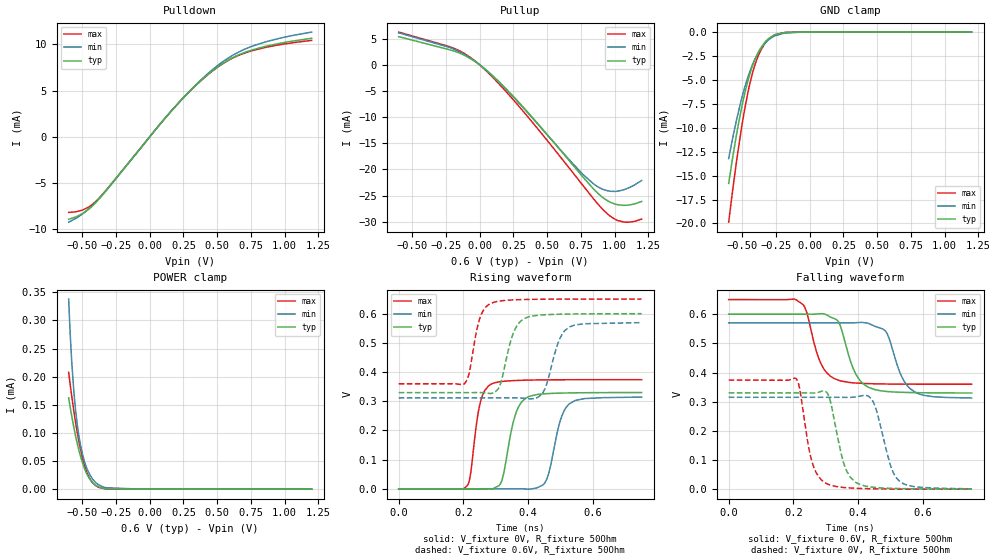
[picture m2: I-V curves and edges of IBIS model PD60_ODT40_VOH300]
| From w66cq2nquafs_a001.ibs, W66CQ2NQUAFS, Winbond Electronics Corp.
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[Model]   PD60_ODT40_VOH300
Model_type   I/O
Polarity   Non-Inverting
Enable   Active-Low
Vinl = 0.08
Vinh = 0.22
Vmeas = 0.15
Vref = 0
Cref = 0pF
Rref = 40
|   typ   min   max
C_comp   0.85pF   0.80pF   0.90pF
[Voltage Range]   0.6   0.57   0.65
[Temperature Range]   25   125   -40
[Pullup Reference]   0.6   0.57   0.65
[Pulldown Reference]   0   0   0
[Power Clamp Reference]   0.6   0.57   0.65
[GND Clamp Reference]   0   0   0
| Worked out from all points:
|   slope of the pulldown table from 0 to 0.09 V, typ, clamps not added: 56.1 ohm
|   slope of the pullup table from 0 to 0.09 V, typ, clamps not added: 46.5 ohm
|   GND clamp passes 1 mA (typ) near -0.33 V on its own axis
|   falling waveform, V_fixture 0.6V, R_fixture 50Ohm: 20-80 % time 49.4ps typ, 51ps min, 46.6ps max; typ from 0.6 V to 0.33 V
|   rising waveform, V_fixture 0V, R_fixture 50Ohm: 20-80 % time 37.1ps typ, 38.9ps min, 28.2ps max; typ from 0 V to 0.33 V
|   rising waveform, V_fixture 0.6V, R_fixture 50Ohm: 20-80 % time 38.5ps typ, 40.9ps min, 31.6ps max; typ from 0.33 V to 0.6 V
|   falling waveform, V_fixture 0V, R_fixture 50Ohm: 20-80 % time 41.6ps typ, 44.8ps min, 37.4ps max; typ from 0.33 V to 0 V
[Pulldown]
|   Voltage   I(typ)   I(min)   I(max)
-600mV    -8.908mA   -9.223mA   -8.165mA
-492.8mV  -8.247mA   -8.283mA   -7.889mA
-451.1mV  -7.81mA    -7.783mA   -7.58mA
-403.7mV  -7.167mA   -7.112mA   -7.039mA
-306.2mV  -5.538mA   -5.499mA   -5.482mA
161.8mV   2.825mA    2.818mA    2.818mA
347.9mV   5.661mA    5.706mA    5.64mA
506.3mV   7.588mA    7.739mA    7.557mA
619.4mV   8.588mA    8.852mA    8.547mA
776.5mV   9.468mA    9.887mA    9.385mA
966.4mV   10.11mA    10.67mA    9.964mA
1.2V      10.65mA    11.32mA    10.43mA
[GND Clamp]
|   Voltage   I(typ)   I(min)   I(max)
-600mV    -15.82mA   -13.22mA   -19.87mA
-537.9mV  -10.39mA   -8.934mA   -13.12mA
-492.8mV  -7.148mA   -6.363mA   -8.956mA
-451.8mV  -4.806mA   -4.467mA   -5.924mA
-427.3mV  -3.693mA   -3.533mA   -4.479mA
-382.2mV  -2.16mA    -2.199mA   -2.517mA
-336.1mV  -1.144mA   -1.236mA   -1.267mA
-303mV    -671.4uA   -777uA     -721.1uA
-255.7mV  -268.9uA   -376.3uA   -271.4uA
-186.7mV  -55.31uA   -102uA     -44.87uA
-59.4mV   -1.414uA   -6.579uA   -414.8nA
1.2V      0A         0A         0A
[Pullup]
|   Voltage   I(typ)   I(min)   I(max)
-600mV    5.379mA    6.114mA    6.249mA
-180.6mV  2.55mA     2.879mA    3.055mA
-112.2mV  1.811mA    1.979mA    2.144mA
-4.6mV    85.11uA    90.34uA    103.4uA
124.8mV   -2.773mA   -2.858mA   -3.137mA
272.7mV   -6.676mA   -6.792mA   -7.376mA
760mV     -21.28mA   -20.81mA   -22.88mA
871.6mV   -24.44mA   -23.24mA   -26.46mA
953.3mV   -26.06mA   -24.1mA    -28.63mA
1.027V    -26.75mA   -24.12mA   -29.78mA
1.095V    -26.82mA   -23.62mA   -30.07mA
1.2V      -26.11mA   -22.11mA   -29.49mA
[POWER Clamp]
|   Voltage   I(typ)   I(min)   I(max)
-600mV    162.4uA    337.9uA    207.7uA
-588mV    144.9uA    273.1uA    184.9uA
-577.9mV  130.9uA    228.9uA    166.4uA
-562.4mV  110.8uA    175.7uA    140uA
-549.3mV  95.23uA    141.4uA    119.4uA
-525.3mV  70.42uA    96.1uA     86.26uA
-494.4mV  44.55uA    59.14uA    52.1uA
-464.9mV  26.96uA    36.57uA    29.73uA
-396.5mV  6.412uA    10.86uA    5.787uA
-324mV    871.3nA    2.542uA    577.4nA
-59.4mV   0A         11.64nA    0A
1.2V      0A         0A         0A
[Ramp]
R_load = 50
|   typ   min   max
dV/dt_r 1.9798E-01/3.6909E-11   1.8852E-01/3.8834E-11   2.2434E-01/2.8200E-11
dV/dt_f 1.6214E-01/4.9384E-11   1.5446E-01/5.0431E-11   1.7410E-01/4.6618E-11
[Falling Waveform]
V_fixture = 0.6V
V_fixture_min = 0.57V
V_fixture_max = 0.65V
R_fixture = 50Ohm
C_fixture = 0F
|   Time   V(typ)   V(min)   V(max)
0s        600mV      570mV      650mV
229ps     600mV      570mV      633.3mV
285ps     601.8mV    570mV      430.2mV
331ps     582.6mV    570mV      377mV
392ps     395.5mV    570.8mV    364mV
431ps     349.6mV    568.7mV    362mV
488ps     335mV      536.1mV    360.6mV
533ps     332.2mV    388.6mV    360.2mV
573ps     331.1mV    334.3mV    360mV
750ps     329.8mV    312.6mV    359.8mV
[Rising Waveform]
V_fixture = 0V
V_fixture_min = 0V
V_fixture_max = 0V
R_fixture = 50Ohm
C_fixture = 0F
|   Time   V(typ)   V(min)   V(max)
0s        5.397uV    43.77uV    1.065uV
211ps     3.899uV    43.77uV    9.963mV
251ps     44.58uV    43.87uV    291.1mV
286ps     -507.6uV   42.86uV    359mV
318ps     26.79mV    42.42uV    367.7mV
354ps     229.7mV    75.36uV    370.7mV
391ps     309.4mV    -386.6uV   372.2mV
452ps     325.7mV    21.35mV    373.3mV
526ps     328.6mV    290.4mV    373.7mV
750ps     330mV      314.2mV    373.9mV
[Rising Waveform]
V_fixture = 0.6V
V_fixture_min = 0.57V
V_fixture_max = 0.65V
R_fixture = 50Ohm
C_fixture = 0F
|   Time   V(typ)   V(min)   V(max)
0s        329.6mV    311.3mV    359.8mV
202ps     329.6mV    311.3mV    359.2mV
251ps     329.8mV    311.3mV    586mV
294ps     328.6mV    311.3mV    639.2mV
354ps     533.5mV    311.4mV    647.2mV
391ps     584.8mV    309.9mV    648.6mV
445ps     595.8mV    329.4mV    649.4mV
493ps     598mV      502.3mV    649.8mV
525ps     598.7mV    553.2mV    649.9mV
750ps     599.9mV    569.4mV    650mV
[Falling Waveform]
|Gnd
V_fixture = 0V
V_fixture_min = 0V
V_fixture_max = 0V
R_fixture = 50Ohm
C_fixture = 0F
|   Time   V(typ)   V(min)   V(max)
0s        330mV      315mV      373.9mV
208ps     330mV      315mV      379.5mV
256ps     329.7mV    315mV      99.07mV
303ps     331.7mV    315mV      18.73mV
354ps     93.06mV    314.9mV    5.844mV
392ps     23.67mV    316.3mV    3.008mV
446ps     6.576mV    299.9mV    1.292mV
498ps     2.989mV    86.85mV    558.3uV
526ps     2.086mV    28.61mV    338.1uV
750ps     114.2uV    1.214mV    -15.44uV
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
